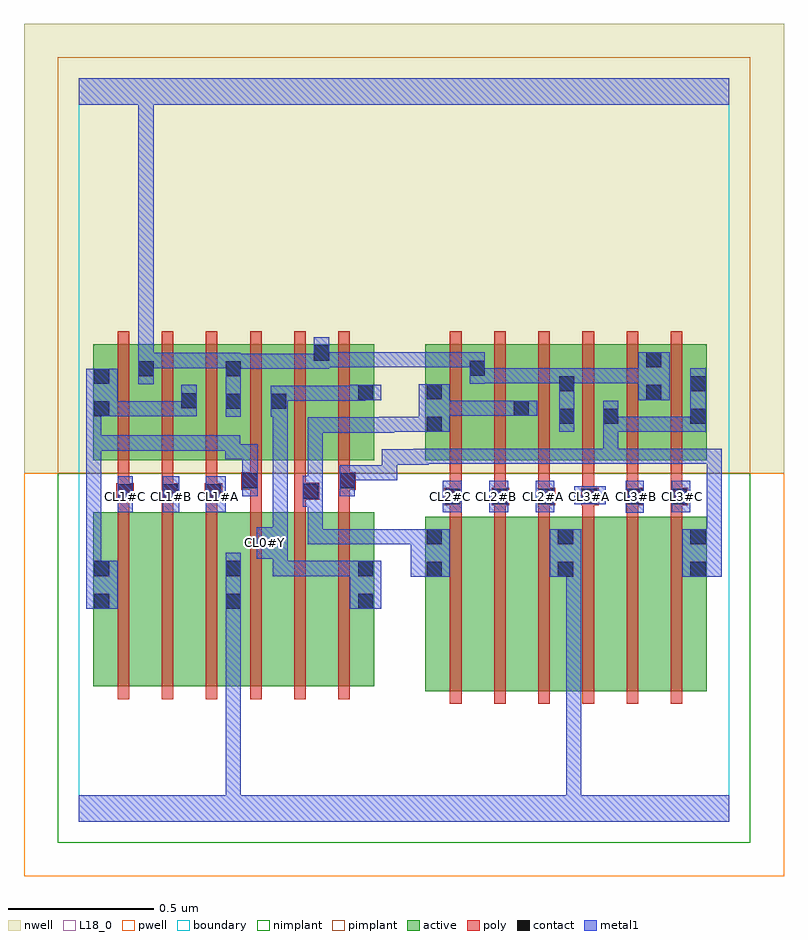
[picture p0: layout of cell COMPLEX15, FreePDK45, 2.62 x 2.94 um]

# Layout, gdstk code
import gdstk
lib = gdstk.Library(unit=1e-6, precision=1e-09)
def R(c, l, rs):  # rectangles x0, y0, x1, y1
    for r in rs: c.add(gdstk.rectangle(r[:2], r[2:], *l))
def A(c, l, x, y, w, h, nx, ny, dx, dy):  # array of equal rectangles
    R(c, l, [(x+i*dx, y+j*dy, x+i*dx+w, y+j*dy+h) for i in range(nx) for j in range(ny)])
active = (1, 0)
pwell = (2, 0)
nwell = (3, 0)
nimplant = (4, 0)
pimplant = (5, 0)
poly = (9, 0)
contact = (10, 0)
metal1 = (11, 0)
L18_0 = (18, 0)
boundary = (235, 0)

complex15 = lib.new_cell('COMPLEX15')
R(complex15, active, [(1.194,0.45,1.374,1.05), (1.374,0.45,1.526,1.05), (1.526,0.45,1.706,1.05), (1.646,0.45,1.83,1.05), (1.646,0.45,1.706,1.05), (1.83,0.45,1.982,1.05), (1.982,0.45,2.162,1.05), (2.102,0.456,2.162,1.05), (0.05,0.466,0.23,1.066), (0.23,0.466,0.382,1.066), (0.382,0.466,0.562,1.066), (0.502,0.466,0.686,1.066), (0.502,0.466,0.562,0.902), (0.686,0.466,0.838,1.066), (0.838,0.466,1.018,1.066), (0.958,0.466,1.018,1.066), (0.05,0.504,0.11,1.066), (1.194,0.556,1.254,1.05), (0.05,1.244,0.11,1.644), (0.05,1.244,0.262,1.644), (0.202,1.244,0.262,1.644), (0.202,1.244,0.41,1.644), (0.35,1.244,0.41,1.644), (0.35,1.244,0.562,1.644), (0.502,1.244,0.562,1.644), (0.502,1.244,0.718,1.644), (0.658,1.244,0.718,1.644), (0.658,1.244,0.866,1.644), (0.806,1.244,0.866,1.644), (0.806,1.244,1.018,1.644), (0.958,1.244,1.018,1.644), (1.194,1.244,1.254,1.644), (1.194,1.244,1.402,1.644), (1.342,1.244,1.402,1.644), (1.342,1.244,1.554,1.644), (1.494,1.244,1.554,1.644), (1.494,1.244,1.71,1.644), (1.65,1.244,1.71,1.644), (1.65,1.244,1.862,1.644), (1.802,1.244,1.862,1.644), (1.802,1.244,2.01,1.644), (1.95,1.244,2.01,1.644), (1.95,1.244,2.162,1.644), (2.102,1.244,2.162,1.644)])
R(complex15, pwell, [(-0.188,-0.188,2.428,1.2)])
R(complex15, nwell, [(-0.188,1.2,2.428,2.748)])
R(complex15, nimplant, [(-0.072,-0.072,2.312,1.2)])
R(complex15, pimplant, [(-0.072,1.2,2.312,2.632)])
A(complex15, poly, 1.278, 0.406, 0.04, 0.688, 6, 1, 0.152, 0)
A(complex15, poly, 0.134, 0.422, 0.04, 0.688, 6, 1, 0.152, 0)
A(complex15, poly, 1.278, 1.054, 0.04, 0.076, 6, 1, 0.152, 0)
A(complex15, poly, 0.134, 1.07, 0.04, 0.076, 3, 1, 0.152, 0)
A(complex15, poly, 1.278, 1.11, 0.04, 0.13, 6, 1, 0.152, 0)
A(complex15, poly, 0.134, 1.126, 0.04, 0.114, 3, 1, 0.152, 0)
A(complex15, poly, 0.134, 1.2, 0.04, 0.488, 6, 1, 0.152, 0)
A(complex15, poly, 1.278, 1.2, 0.04, 0.488, 6, 1, 0.152, 0)
R(complex15, poly, [(0.59,1.07,0.63,1.184), (0.742,1.07,0.782,1.148), (0.894,1.07,0.934,1.184), (1.258,1.09,1.318,1.15), (1.422,1.09,1.482,1.15), (1.58,1.09,1.64,1.15), (1.73,1.09,1.79,1.15), (1.886,1.09,1.946,1.15), (2.038,1.09,2.098,1.15), (0.13,1.106,0.19,1.166), (0.286,1.106,0.346,1.166), (0.434,1.106,0.494,1.166), (0.742,1.108,0.782,1.148), (0.742,1.108,0.782,1.148), (0.742,1.108,0.828,1.168), (1.278,1.11,1.318,1.15), (1.278,1.11,1.318,1.15), (1.43,1.11,1.47,1.15), (1.43,1.11,1.47,1.15), (1.582,1.11,1.622,1.15), (1.582,1.11,1.622,1.15), (1.734,1.11,1.774,1.15), (1.734,1.11,1.774,1.15), (1.886,1.11,1.926,1.15), (1.886,1.11,1.926,1.15), (2.038,1.11,2.078,1.15), (2.038,1.11,2.078,1.15), (0.134,1.126,0.174,1.166), (0.134,1.126,0.174,1.166), (0.286,1.126,0.326,1.166), (0.286,1.126,0.326,1.166), (0.438,1.126,0.478,1.166), (0.438,1.126,0.478,1.166), (0.742,1.128,0.782,1.24), (0.56,1.144,0.63,1.204), (0.59,1.144,0.63,1.184), (0.59,1.144,0.63,1.184), (0.894,1.144,0.934,1.184), (0.894,1.144,0.934,1.184), (0.894,1.144,0.954,1.204), (0.59,1.164,0.63,1.24), (0.894,1.164,0.934,1.24)])
R(complex15, contact, [(0.054,0.734,0.106,0.786), (0.506,0.734,0.558,0.786), (0.962,0.734,1.014,0.786), (1.198,0.844,1.25,0.896), (1.65,0.844,1.702,0.896), (2.106,0.844,2.158,0.896), (0.054,0.846,0.106,0.898), (0.506,0.846,0.558,0.898), (0.962,0.846,1.014,0.898), (1.198,0.956,1.25,1.008), (1.65,0.956,1.702,1.008), (2.106,0.956,2.158,1.008), (1.262,1.094,1.314,1.146), (1.426,1.094,1.478,1.146), (1.584,1.094,1.636,1.146), (1.734,1.094,1.786,1.146), (1.89,1.094,1.942,1.146), (2.042,1.094,2.094,1.146), (0.134,1.11,0.186,1.162), (0.29,1.11,0.342,1.162), (0.438,1.11,0.49,1.162), (0.772,1.112,0.824,1.164), (0.564,1.148,0.616,1.2), (0.898,1.148,0.95,1.2), (1.198,1.342,1.25,1.394), (1.654,1.37,1.706,1.422), (1.806,1.37,1.858,1.422), (2.106,1.37,2.158,1.422), (0.054,1.396,0.106,1.448), (1.498,1.398,1.55,1.45), (0.506,1.422,0.558,1.474), (0.662,1.422,0.714,1.474), (0.354,1.424,0.406,1.476), (0.962,1.452,1.014,1.504), (1.954,1.452,2.006,1.504), (1.198,1.454,1.25,1.506), (1.654,1.482,1.706,1.534), (2.106,1.482,2.158,1.534), (0.054,1.508,0.106,1.56), (0.206,1.534,0.258,1.586), (0.506,1.534,0.558,1.586), (1.346,1.536,1.398,1.588), (1.954,1.564,2.006,1.616), (0.81,1.588,0.862,1.64)])
A(complex15, metal1, 1.254, 1.066, 0.064, 0.108, 3, 1, 0.16, 0)
R(complex15, metal1, [(0,0,2.24,0.092), (0.506,0.04,0.558,0.092), (0.506,0.04,0.558,0.092), (0.506,0.04,0.558,0.092), (0.506,0.04,0.558,0.092), (0.506,0.04,0.558,0.092), (0.506,0.04,0.558,0.092), (0.506,0.04,0.558,0.092), (0.506,0.04,0.558,0.092), (0.506,0.04,0.558,0.758), (1.678,0.04,1.73,0.092), (1.678,0.04,1.73,0.092), (1.678,0.04,1.73,0.092), (1.678,0.04,1.73,0.092), (1.678,0.04,1.73,0.092), (1.678,0.04,1.73,0.092), (1.678,0.04,1.73,0.092), (1.678,0.04,1.73,0.092), (1.678,0.04,1.73,0.896), (0.506,0.706,0.558,0.926), (0.026,0.734,0.134,0.898), (0.934,0.734,1.042,0.898), (1.144,0.844,1.278,1.008), (1.622,0.844,1.73,1.008), (2.078,0.844,2.214,1.008), (0.026,0.846,0.078,0.898), (0.026,0.846,0.078,0.898), (0.026,0.846,0.078,1.33), (0.668,0.846,0.72,0.898), (0.668,0.846,0.83,0.898), (0.668,0.846,0.72,0.958), (0.778,0.846,0.83,0.898), (0.778,0.846,0.83,0.898), (0.778,0.846,0.83,0.898), (0.778,0.846,0.986,0.898), (0.934,0.846,0.986,0.898), (0.934,0.846,0.986,0.898), (0.614,0.906,0.72,1.014), (0.788,0.956,0.84,1.008), (0.788,0.956,1.086,1.008), (0.788,0.956,0.84,1.192), (1.034,0.956,1.086,1.008), (1.034,0.956,1.086,1.008), (1.034,0.956,1.086,1.008), (1.034,0.956,1.196,1.008), (1.144,0.956,1.196,1.008), (1.144,0.956,1.196,1.008), (2.162,0.956,2.214,1.008), (2.162,0.956,2.214,1.008), (2.162,0.956,2.214,1.284), (0.668,0.962,0.72,1.014), (0.668,0.962,0.72,1.014), (0.668,0.962,0.72,1.446), (1.884,1.064,1.946,1.174), (0.134,1.066,0.186,1.19), (0.29,1.066,0.346,1.19), (0.438,1.066,0.506,1.19), (2.042,1.066,2.106,1.174), (0.772,1.084,0.824,1.192), (1.706,1.094,1.814,1.156), (0.564,1.12,0.616,1.3), (0.898,1.12,0.95,1.228), (0.772,1.14,0.84,1.192), (0.788,1.14,0.84,1.192), (0.788,1.14,0.84,1.392), (0.898,1.176,1.096,1.228), (1.044,1.176,1.096,1.282), (1.044,1.23,1.206,1.282), (1.154,1.23,1.206,1.284), (1.154,1.232,1.206,1.284), (1.154,1.232,1.206,1.284), (1.154,1.232,1.412,1.284), (1.36,1.232,1.412,1.284), (1.36,1.232,1.412,1.284), (1.36,1.232,1.412,1.284), (1.36,1.232,1.558,1.284), (1.506,1.232,1.558,1.284), (1.506,1.232,1.558,1.284), (1.506,1.232,1.558,1.284), (1.506,1.232,1.718,1.284), (1.666,1.232,1.718,1.284), (1.666,1.232,1.718,1.284), (1.666,1.232,1.718,1.284), (1.666,1.232,1.858,1.284), (1.806,1.232,1.858,1.284), (1.806,1.232,1.858,1.284), (1.806,1.232,1.858,1.284), (1.806,1.232,1.968,1.284), (1.806,1.232,1.858,1.394), (1.916,1.232,1.968,1.284), (1.916,1.232,2.214,1.284), (2.162,1.232,2.214,1.284), (2.162,1.232,2.214,1.284), (2.162,1.232,2.214,1.284), (0.504,1.248,0.616,1.3), (0.504,1.248,0.556,1.33), (0.026,1.278,0.078,1.33), (0.026,1.278,0.078,1.33), (0.026,1.278,0.078,1.33), (0.026,1.278,0.296,1.33), (0.026,1.278,0.078,1.448), (0.244,1.278,0.296,1.33), (0.244,1.278,0.296,1.33), (0.244,1.278,0.296,1.33), (0.244,1.278,0.446,1.33), (0.394,1.278,0.446,1.33), (0.394,1.278,0.446,1.33), (0.394,1.278,0.446,1.33), (0.394,1.278,0.556,1.33), (0.788,1.34,0.84,1.392), (0.788,1.34,1.086,1.392), (1.034,1.34,1.086,1.392), (1.034,1.34,1.086,1.392), (1.034,1.34,1.086,1.394), (1.034,1.342,1.222,1.394), (1.17,1.342,1.278,1.506), (1.654,1.342,1.706,1.562), (1.806,1.342,1.858,1.394), (1.806,1.342,1.858,1.394), (1.806,1.342,1.968,1.394), (1.806,1.342,1.858,1.45), (1.916,1.342,1.968,1.394), (1.916,1.342,2.158,1.394), (2.106,1.342,2.158,1.394), (2.106,1.342,2.158,1.394), (2.106,1.342,2.158,1.562), (0.506,1.394,0.558,1.614), (0.662,1.394,0.72,1.502), (0.026,1.396,0.134,1.56), (0.082,1.396,0.134,1.448), (0.082,1.396,0.134,1.448), (0.082,1.396,0.244,1.448), (0.192,1.396,0.244,1.448), (0.192,1.396,0.244,1.448), (0.192,1.396,0.244,1.448), (0.192,1.396,0.406,1.448), (0.354,1.396,0.406,1.504), (1.226,1.398,1.278,1.45), (1.226,1.398,1.278,1.45), (1.226,1.398,1.388,1.45), (1.336,1.398,1.388,1.45), (1.336,1.398,1.388,1.45), (1.336,1.398,1.388,1.45), (1.336,1.398,1.522,1.45), (1.47,1.398,1.578,1.45), (0.668,1.45,0.72,1.502), (0.668,1.45,0.72,1.502), (0.668,1.45,0.83,1.502), (0.778,1.45,0.83,1.502), (0.778,1.45,0.83,1.502), (0.778,1.45,0.83,1.502), (0.778,1.45,0.986,1.502), (0.934,1.45,0.986,1.504), (0.934,1.452,0.986,1.504), (0.934,1.452,1.042,1.504), (1.926,1.452,2.034,1.616), (0.206,1.506,0.258,1.614), (1.346,1.508,1.398,1.616), (1.346,1.51,1.398,1.562), (1.346,1.51,1.398,1.562), (1.346,1.51,1.522,1.562), (1.47,1.51,1.522,1.562), (1.47,1.51,1.522,1.562), (1.47,1.51,1.522,1.562), (1.47,1.51,1.706,1.562), (1.654,1.51,1.706,1.562), (1.654,1.51,1.706,1.562), (1.654,1.51,1.828,1.562), (1.776,1.51,1.828,1.562), (1.776,1.51,1.828,1.562), (1.776,1.51,1.828,1.562), (1.776,1.51,1.978,1.562), (0.506,1.56,0.714,1.612), (0.662,1.56,0.714,1.612), (0.662,1.56,0.714,1.612), (0.662,1.56,0.714,1.612), (0.662,1.56,0.824,1.612), (0.772,1.56,0.824,1.612), (0.772,1.56,0.862,1.612), (0.81,1.56,0.862,1.668), (0.206,1.562,0.258,1.614), (0.206,1.562,0.258,1.614), (0.206,1.562,0.258,1.614), (0.206,1.562,0.258,1.614), (0.206,1.562,0.258,1.614), (0.206,1.562,0.258,1.614), (0.206,1.562,0.446,1.614), (0.206,1.562,0.258,2.52), (0.394,1.562,0.446,1.614), (0.394,1.562,0.446,1.614), (0.394,1.562,0.446,1.614), (0.394,1.562,0.558,1.614), (0.81,1.564,1.086,1.616), (1.034,1.564,1.086,1.616), (1.034,1.564,1.086,1.616), (1.034,1.564,1.086,1.616), (1.034,1.564,1.206,1.616), (1.154,1.564,1.206,1.616), (1.154,1.564,1.206,1.616), (1.154,1.564,1.206,1.616), (1.154,1.564,1.398,1.616), (0,2.468,2.24,2.56), (0.206,2.468,0.258,2.52), (0.206,2.468,0.258,2.52), (0.206,2.468,0.258,2.52), (0.206,2.468,0.258,2.52), (0.206,2.468,0.258,2.52), (0.206,2.468,0.258,2.52), (0.206,2.468,0.258,2.52), (0.206,2.468,0.258,2.52), (0.206,2.468,0.258,2.52), (0.206,2.468,0.258,2.52), (0.206,2.468,0.258,2.52), (0.206,2.468,0.258,2.52)])
A(complex15, L18_0, 1.254, 1.066, 0.064, 0.108, 3, 1, 0.16, 0)
A(complex15, L18_0, 0.134, 1.094, 0.052, 0.052, 3, 1, 0.16, 0)
A(complex15, L18_0, 1.254, 1.094, 0.052, 0.052, 6, 1, 0.16, 0)
R(complex15, L18_0, [(0,0,2.24,0.092), (0.506,0.04,0.558,0.092), (0.506,0.04,0.558,0.092), (0.506,0.04,0.558,0.092), (0.506,0.04,0.558,0.092), (0.506,0.04,0.558,0.092), (0.506,0.04,0.558,0.092), (0.506,0.04,0.558,0.092), (0.506,0.04,0.558,0.092), (0.506,0.04,0.558,0.758), (1.678,0.04,1.73,0.092), (1.678,0.04,1.73,0.092), (1.678,0.04,1.73,0.092), (1.678,0.04,1.73,0.092), (1.678,0.04,1.73,0.092), (1.678,0.04,1.73,0.092), (1.678,0.04,1.73,0.092), (1.678,0.04,1.73,0.092), (1.678,0.04,1.73,0.896), (0.506,0.706,0.558,0.926), (0.934,0.734,1.042,0.898), (1.622,0.844,1.73,1.008), (0.668,0.846,0.72,0.898), (0.668,0.846,0.72,0.958), (0.668,0.846,0.83,0.898), (0.778,0.846,0.83,0.898), (0.778,0.846,0.83,0.898), (0.778,0.846,0.83,0.898), (0.778,0.846,0.986,0.898), (0.934,0.846,0.986,0.898), (0.934,0.846,0.986,0.898), (0.614,0.906,0.72,1.014), (0.614,0.934,0.666,0.986), (0.668,0.962,0.72,1.014), (0.668,0.962,0.72,1.014), (0.668,0.962,0.72,1.446), (1.884,1.064,1.946,1.174), (0.134,1.066,0.186,1.19), (0.29,1.066,0.346,1.19), (0.438,1.066,0.506,1.19), (2.042,1.066,2.106,1.174), (1.706,1.094,1.814,1.156), (1.654,1.342,1.706,1.562), (0.506,1.394,0.558,1.614), (0.662,1.394,0.72,1.502), (0.668,1.45,0.72,1.502), (0.668,1.45,0.72,1.502), (0.668,1.45,0.83,1.502), (0.778,1.45,0.83,1.502), (0.778,1.45,0.83,1.502), (0.778,1.45,0.83,1.502), (0.778,1.45,0.986,1.502), (0.934,1.45,0.986,1.504), (0.934,1.452,0.986,1.504), (0.934,1.452,1.042,1.504), (1.926,1.452,2.034,1.616), (0.206,1.506,0.258,1.614), (1.346,1.508,1.398,1.616), (1.346,1.51,1.398,1.562), (1.346,1.51,1.398,1.562), (1.346,1.51,1.522,1.562), (1.47,1.51,1.522,1.562), (1.47,1.51,1.522,1.562), (1.47,1.51,1.522,1.562), (1.47,1.51,1.706,1.562), (1.654,1.51,1.706,1.562), (1.654,1.51,1.706,1.562), (1.654,1.51,1.828,1.562), (1.776,1.51,1.828,1.562), (1.776,1.51,1.828,1.562), (1.776,1.51,1.828,1.562), (1.776,1.51,1.978,1.562), (0.506,1.56,0.714,1.612), (0.662,1.56,0.714,1.612), (0.662,1.56,0.714,1.612), (0.662,1.56,0.714,1.612), (0.662,1.56,0.824,1.612), (0.772,1.56,0.824,1.612), (0.772,1.56,0.862,1.612), (0.81,1.56,0.862,1.668), (0.206,1.562,0.258,1.614), (0.206,1.562,0.258,1.614), (0.206,1.562,0.258,1.614), (0.206,1.562,0.258,1.614), (0.206,1.562,0.258,1.614), (0.206,1.562,0.258,1.614), (0.206,1.562,0.258,2.52), (0.206,1.562,0.446,1.614), (0.394,1.562,0.446,1.614), (0.394,1.562,0.446,1.614), (0.394,1.562,0.446,1.614), (0.394,1.562,0.558,1.614), (0.81,1.564,1.086,1.616), (1.034,1.564,1.086,1.616), (1.034,1.564,1.086,1.616), (1.034,1.564,1.086,1.616), (1.034,1.564,1.206,1.616), (1.154,1.564,1.206,1.616), (1.154,1.564,1.206,1.616), (1.154,1.564,1.206,1.616), (1.154,1.564,1.398,1.616), (0,2.468,2.24,2.56), (0.206,2.468,0.258,2.52), (0.206,2.468,0.258,2.52), (0.206,2.468,0.258,2.52), (0.206,2.468,0.258,2.52), (0.206,2.468,0.258,2.52), (0.206,2.468,0.258,2.52), (0.206,2.468,0.258,2.52), (0.206,2.468,0.258,2.52), (0.206,2.468,0.258,2.52), (0.206,2.468,0.258,2.52), (0.206,2.468,0.258,2.52), (0.206,2.468,0.258,2.52)])
R(complex15, boundary, [(0,0,2.24,2.56)])
complex15.add(gdstk.Label('CL0#Y', (0.64,0.96), layer=11, texttype=0))
complex15.add(gdstk.Label('CL1#A', (0.48,1.12), layer=11, texttype=0))
complex15.add(gdstk.Label('CL1#B', (0.32,1.12), layer=11, texttype=0))
complex15.add(gdstk.Label('CL1#C', (0.16,1.12), layer=11, texttype=0))
complex15.add(gdstk.Label('CL2#A', (1.6,1.12), layer=11, texttype=0))
complex15.add(gdstk.Label('CL2#B', (1.44,1.12), layer=11, texttype=0))
complex15.add(gdstk.Label('CL2#C', (1.28,1.12), layer=11, texttype=0))
complex15.add(gdstk.Label('CL3#A', (1.76,1.12), layer=11, texttype=0))
complex15.add(gdstk.Label('CL3#B', (1.92,1.12), layer=11, texttype=0))
complex15.add(gdstk.Label('CL3#C', (2.08,1.12), layer=11, texttype=0))

lib.write_gds('COMPLEX15.gds')
